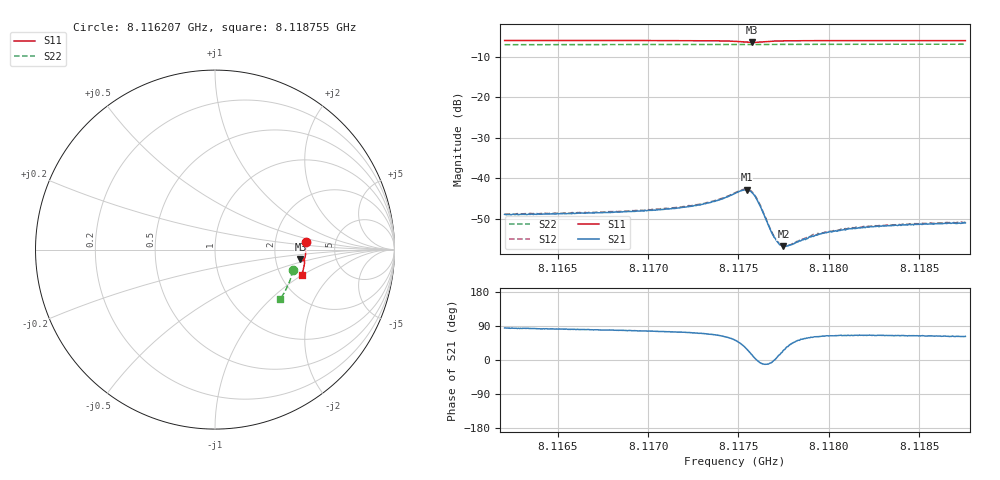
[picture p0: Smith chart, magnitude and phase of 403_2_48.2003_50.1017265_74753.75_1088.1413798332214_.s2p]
#  HZ  S  RI  R  50.00
! Rohde & Schwarz Vector Network Analyzer
! Rohde-Schwarz,ZNB20-2Port,1311601062101988,3.16
! Created: UTC 3/20/2024, 11:54:06 AM
! freq[Hz]  re:S11  im:S11  re:S21  im:S21  re:S12  im:S12  re:S22  im:S22
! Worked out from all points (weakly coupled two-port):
!   401 points, 8.116207 GHz to 8.118755 GHz, reference 50 ohm
!   highest |S21| = -42.86 dB at 8.117545 GHz (marker M1); lowest = -56.8 dB at 8.117748 GHz (marker M2)
!   lowest |S11| = -6.4 dB at 8.117576 GHz (marker M3), VSWR 2.84, Z = 139 - j19.1 ohm
!   |S11| at or under -10 dB: nowhere
!   |S22| runs from -7.0 to -6.8 dB; largest |S21 - S12| = 0.00018
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8.1162066e9  0.5053 0.0428  0.000337 0.00355  0.000371 0.00357  0.4345 -0.1152
8.1166335e9  0.5063 0.0106  0.000622 0.00365  0.000666 0.00366  0.4269 -0.1438
8.1170603e9  0.505 -0.0226  0.00104 0.00394  0.00108 0.004  0.4174 -0.1721
8.1172005e9  0.5037 -0.0342  0.00125 0.00418  0.00133 0.00425  0.4139 -0.1813
8.1173152e9  0.5016 -0.0446  0.00171 0.00451  0.00179 0.00456  0.4109 -0.1888
8.1174043e9  0.4981 -0.0535  0.00242 0.00491  0.00255 0.00499  0.4083 -0.1946
8.1174808e9  0.4908 -0.0611  0.00396 0.00513  0.00405 0.00519  0.406 -0.1997
8.117519e9  0.484 -0.0625  0.00533 0.00461  0.00544 0.00464  0.4046 -0.2018
8.1175445e9  0.4789 -0.0602  0.00626 0.00354  0.0064 0.00356  0.4036 -0.2031
8.1175764e9  0.4762 -0.0528  0.00642 0.0014  0.00659 0.00139  0.4026 -0.2049
8.1175955e9  0.4783 -0.0484  0.00578 0.00023  0.00587 0.000195  0.4023 -0.2058
8.1176146e9  0.4823 -0.0459  0.00475 -0.000465  0.00489 -0.000532  0.402 -0.2067
8.1176783e9  0.4935 -0.0495  0.00222 -0.000309  0.00226 -0.000347  0.4007 -0.2109
8.1177038e9  0.4957 -0.0528  0.00179 5.63e-05  0.0018 2.41e-05  0.3998 -0.2125
8.1177229e9  0.4968 -0.0551  0.00151 0.000328  0.00157 0.000302  0.3994 -0.2138
8.1177484e9  0.4978 -0.0581  0.0013 0.000618  0.00138 0.000601  0.3987 -0.2155
8.1177802e9  0.4985 -0.0618  0.00115 0.000927  0.00117 0.000912  0.3976 -0.2176
8.1179076e9  0.4986 -0.0744  0.000966 0.00165  0.00098 0.00172  0.3937 -0.2258
8.1179905e9  0.4977 -0.0816  0.000935 0.00191  0.000963 0.0019  0.3912 -0.231
8.1181115e9  0.4964 -0.0914  0.00101 0.00213  0.00104 0.00217  0.3869 -0.2383
8.1183345e9  0.493 -0.1085  0.00111 0.00234  0.00114 0.00236  0.379 -0.2519
8.118755e9  0.4848 -0.1395  0.0013 0.00248  0.00134 0.0025  0.3628 -0.2766
